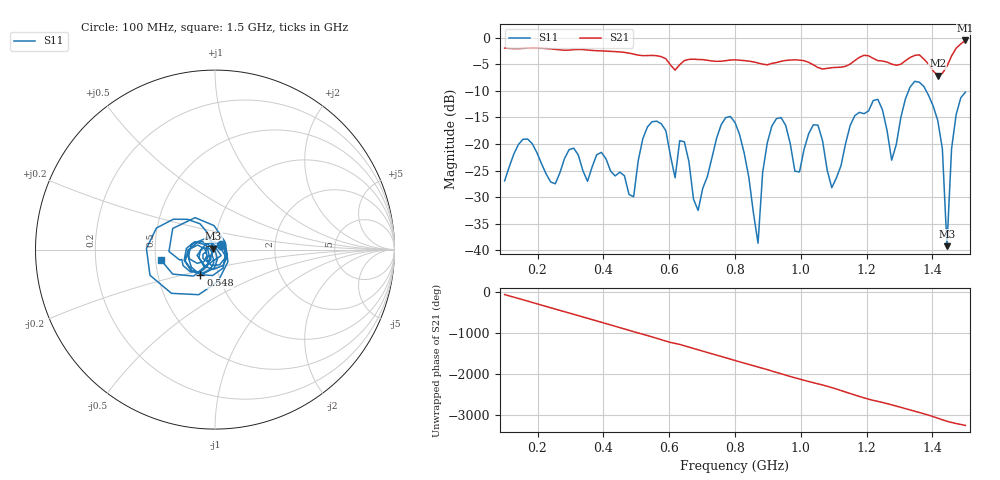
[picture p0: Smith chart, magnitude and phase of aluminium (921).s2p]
! NanoVNA-App
! Date: 2025-09-25 15:02:27
! Start: 100MHz Stop: 1,5GHz Points: 101
! S-Parameter data: F S11 S21 S12 S22
# Hz S RI R 50
!  Frequency  S11_Real  S11_Imag  S21_Real  S21_Imag  S12_Real  S12_Imag  S22_Real  S22_Imag
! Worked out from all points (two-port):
!   101 points, 100 MHz to 1.5 GHz, reference 50 ohm
!   highest |S21| = -0.49 dB at 1.5 GHz (marker M1); lowest = -7.1 dB at 1.416 GHz (marker M2)
!   |S21| within 3 dB of the highest: start of sweep to 571.7 MHz; 1.457 GHz to end of sweep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
!   lowest |S11| = -39.3 dB at 1.444 GHz (marker M3), VSWR 1.02, Z = 49 + j0.495 ohm
!   |S11| at or under -10 dB: start of sweep to 1.327 GHz; 1.381 GHz to end of sweep
!   S12 and S22 are empty: the file has one direction only
!   S11 on the Smith chart (normalised r, x): 100 MHz: 1.07, +0.06; 548 MHz: 0.82, -0.24; 1.5 GHz: 0.53, -0.07
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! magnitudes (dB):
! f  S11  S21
! 100 MHz  -27.0  -1.9
! 156 MHz  -19.1  -2.0
! 338 MHz  -25.1  -2.2
! 492 MHz  -29.9  -3.1
! 548 MHz  -15.8  -3.3
! 576 MHz  -16.2  -3.5
! 618 MHz  -26.4  -6.1
! 646 MHz  -19.6  -4.3
! 688 MHz  -32.5  -4.1
! 800 MHz  -15.9  -4.1
! 870 MHz  -38.7  -4.7
! 912 MHz  -16.6  -4.8
! 996 MHz  -25.3  -4.2
! 1.038 GHz  -16.4  -5.1
! 1.094 GHz  -28.2  -5.6
! 1.234 GHz  -11.6  -4.3
! 1.276 GHz  -23.1  -4.9
! 1.346 GHz  -8.2  -3.3
! 1.416 GHz  -15.6  -7.1
! 1.444 GHz  -39.3  -5.3
! 1.458 GHz  -20.9  -3.4
! 1.5 GHz  -10.2  -0.5
